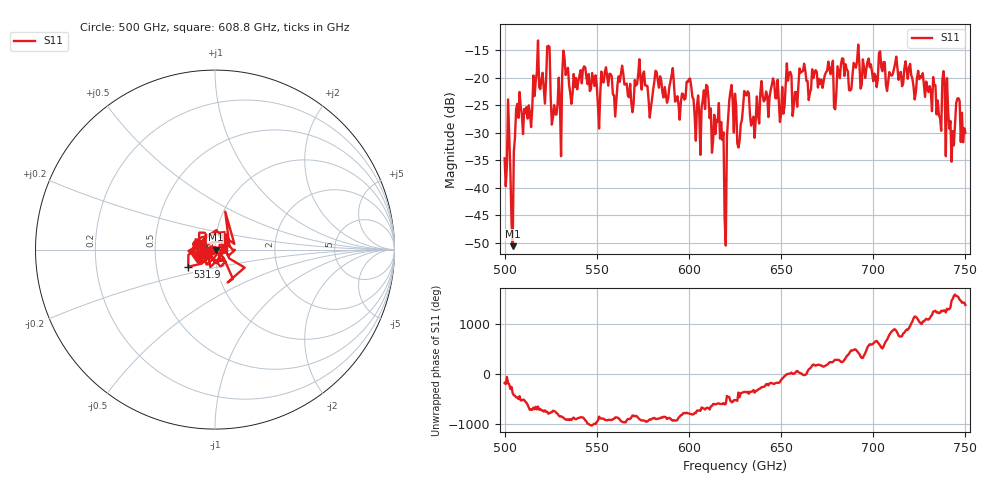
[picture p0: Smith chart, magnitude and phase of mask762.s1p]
!Created with skrf (http://scikit-rf.org).
# GHz S MA R 50.0
!freq magS11 angS11
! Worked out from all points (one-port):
!   401 points, 500 GHz to 750 GHz, reference 50 ohm
!   lowest |S11| = -50.6 dB at 504.4 GHz (marker M1), VSWR 1.01, Z = 50.3 - j0.0938 ohm
!   |S11| at or under -10 dB: start of sweep to end of sweep
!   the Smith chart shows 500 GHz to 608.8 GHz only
!   S11 on the Smith chart (normalised r, x): 500 GHz: 0.96, -0.00; 531.9 GHz: 0.73, -0.14; 608.8 GHz: 1.11, +0.03
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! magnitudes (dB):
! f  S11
! 500 GHz  -34.6
! 501.9 GHz  -23.9
! 504.4 GHz  -50.6
! 507.5 GHz  -27.3
! 513.8 GHz  -26.5
! 516.9 GHz  -20.6
! 523.8 GHz  -14.2
! 526.9 GHz  -25.0
! 531.2 GHz  -19.4
! 531.9 GHz  -15.0
! 562.5 GHz  -20.7
! 579.4 GHz  -25.4
! 590.6 GHz  -19.5
! 593.8 GHz  -23.3
! 600 GHz  -20.2
! 605 GHz  -23.2
! 608.8 GHz  -25.7
! 617.5 GHz  -28.0
! 619.4 GHz  -45.5
! 622.5 GHz  -22.5
! 625 GHz  -22.9
! 627.5 GHz  -31.4
! 631.2 GHz  -23.2
! 635 GHz  -27.1
! 656.2 GHz  -26.9
! 687.5 GHz  -22.3
! 718.8 GHz  -20.2
! 750 GHz  -30.0
